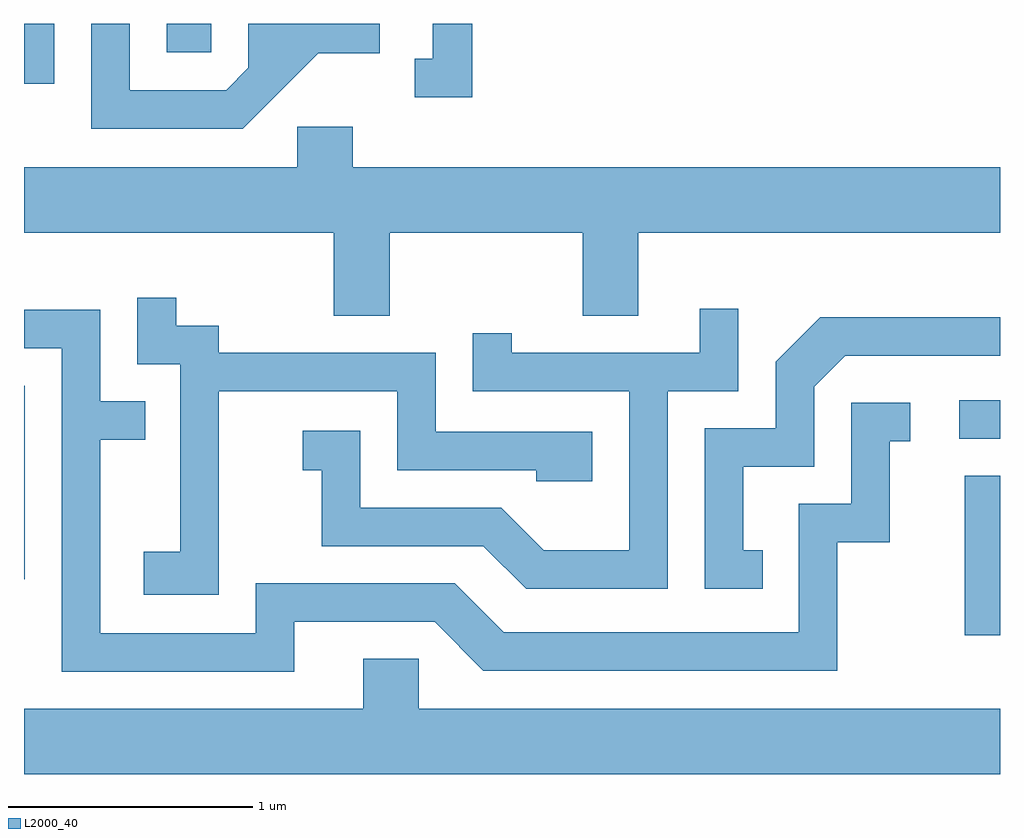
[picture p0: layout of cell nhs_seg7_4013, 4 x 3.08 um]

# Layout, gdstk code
import gdstk
lib = gdstk.Library(unit=1e-6, precision=1e-09)
def R(c, l, rs):  # rectangles x0, y0, x1, y1
    for r in rs: c.add(gdstk.rectangle(r[:2], r[2:], *l))
def P(c, l, *ps):  # polygons
    for p in ps: c.add(gdstk.Polygon(p, *l))
L2000_40 = (2000, 40)

nhs_seg7_4013 = lib.new_cell('nhs_seg7_4013')
R(nhs_seg7_4013, L2000_40, [(311.466,1743.746,311.611,1744.399), (307.611,1743.976,307.614,1744.769), (311.443,1744.551,311.611,1744.709), (307.611,1746.006,307.734,1746.252), (308.196,1746.136,308.379,1746.252)])
P(nhs_seg7_4013, L2000_40, [(308.817,1746.131),(309.069,1746.131),(309.069,1746.252),(308.531,1746.252),(308.531,1746.072),(308.439,1745.979),(308.044,1745.979),(308.044,1746.252),(307.886,1746.252),(307.886,1745.821),(308.507,1745.821)],
  [(309.449,1746.252),(309.286,1746.252),(309.286,1746.109),(309.213,1746.109),(309.213,1745.951),(309.449,1745.951)],
  [(309.109,1745.396),(309.901,1745.396),(309.901,1745.056),(310.129,1745.056),(310.129,1745.396),(311.611,1745.396),(311.611,1745.664),(308.959,1745.664),(308.959,1745.829),(308.731,1745.829),(308.731,1745.664),(307.611,1745.664),(307.611,1745.396),(308.881,1745.396),(308.881,1745.056),(309.109,1745.056)],
  [(308.409,1744.746),(309.141,1744.746),(309.141,1744.421),(309.711,1744.421),(309.711,1744.376),(309.939,1744.376),(309.939,1744.579),(309.299,1744.579),(309.299,1744.904),(308.409,1744.904),(308.409,1745.014),(308.234,1745.014),(308.234,1745.128),(308.076,1745.128),(308.076,1744.856),(308.251,1744.856),(308.251,1744.089),(308.101,1744.089),(308.101,1743.911),(308.409,1743.911)],
  [(310.249,1744.746),(310.539,1744.746),(310.539,1745.083),(310.381,1745.083),(310.381,1744.904),(309.609,1744.904),(309.609,1744.983),(309.451,1744.983),(309.451,1744.746),(310.091,1744.746),(310.091,1744.094),(309.742,1744.094),(309.567,1744.269),(308.989,1744.269),(308.989,1744.584),(308.753,1744.584),(308.753,1744.421),(308.831,1744.421),(308.831,1744.111),(309.494,1744.111),(309.669,1743.936),(310.249,1743.936)],
  [(308.719,1743.801),(309.294,1743.801),(309.494,1743.601),(310.944,1743.601),(310.944,1744.126),(311.159,1744.126),(311.159,1744.541),(311.243,1744.541),(311.243,1744.699),(311.001,1744.699),(311.001,1744.284),(310.786,1744.284),(310.786,1743.759),(309.577,1743.759),(309.377,1743.959),(308.561,1743.959),(308.561,1743.754),(307.924,1743.754),(307.924,1744.546),(308.108,1744.546),(308.108,1744.704),(307.924,1744.704),(307.924,1745.079),(307.611,1745.079),(307.611,1744.921),(307.766,1744.921),(307.766,1743.596),(308.719,1743.596)],
  [(310.638,1744.094),(310.559,1744.094),(310.559,1744.436),(310.849,1744.436),(310.849,1744.764),(310.977,1744.891),(311.611,1744.891),(311.611,1745.049),(310.874,1745.049),(310.691,1744.867),(310.691,1744.594),(310.401,1744.594),(310.401,1743.936),(310.638,1743.936)],
  [(311.611,1743.444),(309.229,1743.444),(309.229,1743.649),(309.001,1743.649),(309.001,1743.444),(307.611,1743.444),(307.611,1743.176),(311.611,1743.176)])

lib.write_gds('nhs_seg7_4013.gds')
